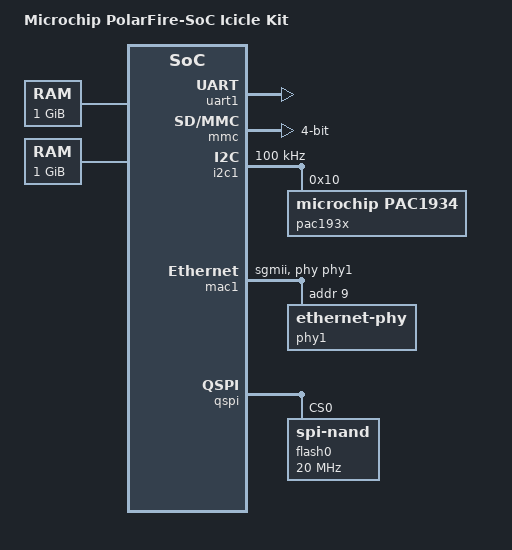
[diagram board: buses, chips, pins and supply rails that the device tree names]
// SPDX-License-Identifier: (GPL-2.0+ OR MIT)
/*
 * Copyright (C) 2021-2022 Microchip Technology Inc.
 * Padmarao Begari <padmarao.begari@microchip.com>
 */

/dts-v1/;

#include "microchip-mpfs.dtsi"

/* Clock frequency (in Hz) of the rtcclk */
#define RTCCLK_FREQ		1000000

/ {
	model = "Microchip PolarFire-SoC Icicle Kit";
	compatible = "microchip,mpfs-icicle-reference-rtlv2210",
		     "microchip,mpfs-icicle-kit", "microchip,mpfs";

	aliases {
		serial1 = &uart1;
		ethernet0 = &mac1;
		spi0 = &qspi;
	};

	chosen {
		stdout-path = "serial1";
	};

	cpus {
		timebase-frequency = <RTCCLK_FREQ>;
	};

	ddrc_cache_lo: memory@80000000 {
		device_type = "memory";
		reg = <0x0 0x80000000 0x0 0x40000000>;
		status = "okay";
	};

	ddrc_cache_hi: memory@1040000000 {
		device_type = "memory";
		reg = <0x10 0x40000000 0x0 0x40000000>;
		status = "okay";
	};

	reserved-memory {
		#address-cells = <2>;
		#size-cells = <2>;
		ranges;

		hss_payload: region@BFC00000 {
			reg = <0x0 0xBFC00000 0x0 0x400000>;
			no-map;
		};
	};
};

&refclk {
	clock-frequency = <125000000>;
};

&uart1 {
	status = "okay";
};

&mmc {
	status = "okay";

	bus-width = <4>;
	disable-wp;
	cap-mmc-highspeed;
	cap-sd-highspeed;
	card-detect-delay = <200>;
	mmc-ddr-1_8v;
	mmc-hs200-1_8v;
	sd-uhs-sdr12;
	sd-uhs-sdr25;
	sd-uhs-sdr50;
	sd-uhs-sdr104;
};

&i2c1 {
	status = "okay";
	clock-frequency = <100000>;

	pac193x: pac193x@10 {
		compatible = "microchip,pac1934";
		reg = <0x10>;
		samp-rate = <64>;
		status = "okay";
		ch1: channel0 {
			uohms-shunt-res = <10000>;
			rail-name = "VDDREG";
			channel_enabled;
		};
		ch2: channel1 {
			uohms-shunt-res = <10000>;
			rail-name = "VDDA25";
			channel_enabled;
		};
		ch3: channel2 {
			uohms-shunt-res = <10000>;
			rail-name = "VDD25";
			channel_enabled;
		};
		ch4: channel3 {
			uohms-shunt-res = <10000>;
			rail-name = "VDDA_REG";
			channel_enabled;
		};
	};
};

&mac1 {
	status = "okay";
	phy-mode = "sgmii";
	phy-handle = <&phy1>;
	phy1: ethernet-phy@9 {
		reg = <9>;
		ti,fifo-depth = <0x1>;
	};
};

&qspi {
	status = "okay";
	num-cs = <1>;

	flash0: flash@0 {
		compatible = "spi-nand";
		reg = <0x0>;
		spi-tx-bus-width = <4>;
		spi-rx-bus-width = <4>;
		spi-max-frequency = <20000000>;
		spi-cpol;
		spi-cpha;
	};
};
